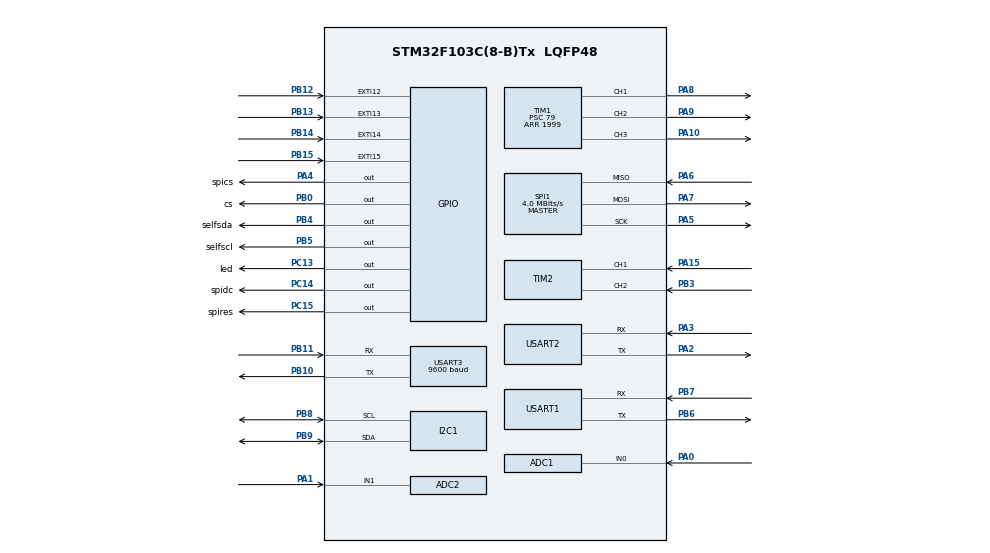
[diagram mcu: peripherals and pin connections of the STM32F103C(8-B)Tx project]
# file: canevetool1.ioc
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ADC1.Channel-0\#ChannelRegularConversion=ADC_CHANNEL_0
ADC1.ContinuousConvMode=ENABLE
ADC1.NbrOfConversion=1
ADC1.NbrOfConversionFlag=1
ADC1.Rank-0\#ChannelRegularConversion=1
ADC1.SamplingTime-0\#ChannelRegularConversion=ADC_SAMPLETIME_13CYCLES_5
ADC1.master=1
ADC2.Channel-2\#ChannelRegularConversion=ADC_CHANNEL_1
ADC2.ContinuousConvMode=ENABLE
ADC2.NbrOfConversionFlag=1
ADC2.Rank-2\#ChannelRegularConversion=1
ADC2.SamplingTime-2\#ChannelRegularConversion=ADC_SAMPLETIME_13CYCLES_5
Dma.ADC1.0.Direction=DMA_PERIPH_TO_MEMORY
Dma.ADC1.0.Instance=DMA1_Channel1
Dma.ADC1.0.MemDataAlignment=DMA_MDATAALIGN_WORD
Dma.ADC1.0.MemInc=DMA_MINC_ENABLE
Dma.ADC1.0.Mode=DMA_CIRCULAR
Dma.ADC1.0.PeriphDataAlignment=DMA_PDATAALIGN_WORD
Dma.ADC1.0.PeriphInc=DMA_PINC_DISABLE
Dma.ADC1.0.Priority=DMA_PRIORITY_LOW
Dma.Request0=ADC1
Mcu.Family=STM32F1
Mcu.Name=STM32F103C(8-B)Tx
Mcu.Package=LQFP48
NVIC.ADC1_2_IRQn=true\:0\:0\:false\:false\:true\:true\:true
NVIC.DMA1_Channel1_IRQn=true\:0\:0\:false\:false\:true\:false\:true
NVIC.EXTI15_10_IRQn=true\:15\:0\:true\:false\:true\:true\:true
NVIC.PriorityGroup=NVIC_PRIORITYGROUP_4
NVIC.TIM1_UP_IRQn=true\:0\:0\:false\:false\:true\:true\:true
NVIC.TIM3_IRQn=true\:0\:0\:false\:false\:true\:true\:true
NVIC.USART1_IRQn=true\:0\:0\:false\:false\:true\:true\:true
PA0-WKUP.Signal=ADCx_IN0
PA1.Signal=ADCx_IN1
PA10.Signal=S_TIM1_CH3
PA13.Mode=Serial_Wire
PA13.Signal=SYS_JTMS-SWDIO
PA14.Mode=Serial_Wire
PA14.Signal=SYS_JTCK-SWCLK
PA15.Signal=S_TIM2_CH1_ETR
PA2.Mode=Asynchronous
PA2.Signal=USART2_TX
PA3.Mode=Asynchronous
PA3.Signal=USART2_RX
PA4.GPIO_Label=spics
PA4.Signal=GPIO_Output
PA5.Mode=Full_Duplex_Master
PA5.Signal=SPI1_SCK
PA6.Mode=Full_Duplex_Master
PA6.Signal=SPI1_MISO
PA7.Mode=Full_Duplex_Master
PA7.Signal=SPI1_MOSI
PA8.Signal=S_TIM1_CH1
PA9.Signal=S_TIM1_CH2
PB0.GPIO_Label=cs
PB0.GPIO_PuPd=GPIO_PULLUP
PB0.GPIO_Speed=GPIO_SPEED_FREQ_HIGH
PB0.Signal=GPIO_Output
PB10.Mode=Asynchronous
PB10.Signal=USART3_TX
PB11.Mode=Asynchronous
PB11.Signal=USART3_RX
PB12.GPIO_ModeDefaultEXTI=GPIO_MODE_IT_FALLING
PB12.GPIO_PuPd=GPIO_PULLUP
PB12.Signal=GPXTI12
PB13.GPIO_ModeDefaultEXTI=GPIO_MODE_IT_FALLING
PB13.GPIO_PuPd=GPIO_PULLUP
PB13.Signal=GPXTI13
PB14.GPIO_ModeDefaultEXTI=GPIO_MODE_IT_FALLING
PB14.GPIO_PuPd=GPIO_PULLUP
PB14.Signal=GPXTI14
PB15.GPIO_ModeDefaultEXTI=GPIO_MODE_IT_FALLING
PB15.GPIO_PuPd=GPIO_PULLUP
PB15.Signal=GPXTI15
PB3.Signal=S_TIM2_CH2
PB4.GPIO_Label=selfsda
PB4.GPIO_PuPd=GPIO_PULLUP
PB4.GPIO_Speed=GPIO_SPEED_FREQ_LOW
PB4.Signal=GPIO_Output
PB5.GPIO_Label=selfscl
PB5.GPIO_PuPd=GPIO_PULLUP
PB5.GPIO_Speed=GPIO_SPEED_FREQ_LOW
PB5.Signal=GPIO_Output
PB6.Mode=Asynchronous
PB6.Signal=USART1_TX
PB7.Mode=Asynchronous
PB7.Signal=USART1_RX
PB8.Mode=I2C
PB8.Signal=I2C1_SCL
PB9.Mode=I2C
PB9.Signal=I2C1_SDA
PC13-TAMPER-RTC.GPIO_Label=led
PC13-TAMPER-RTC.Signal=GPIO_Output
PC14-OSC32_IN.GPIO_Label=spidc
PC14-OSC32_IN.Signal=GPIO_Output
PC15-OSC32_OUT.GPIO_Label=spires
PC15-OSC32_OUT.Signal=GPIO_Output
ProjectManager.HeapSize=0x200
ProjectManager.StackSize=0x400
ProjectManager.TargetToolchain=MDK-ARM V5.32
RCC.APB1Freq_Value=8000000
RCC.APB2Freq_Value=8000000
SH.ADCx_IN0.0=ADC1_IN0,IN0
SH.ADCx_IN1.0=ADC2_IN1,IN1
SH.S_TIM1_CH1.0=TIM1_CH1,PWM Generation1 CH1
SH.S_TIM1_CH2.0=TIM1_CH2,PWM Generation2 CH2
SH.S_TIM1_CH3.0=TIM1_CH3,PWM Generation3 CH3
SH.S_TIM2_CH1_ETR.0=TIM2_CH1,Encoder_Interface
SH.S_TIM2_CH2.0=TIM2_CH2,Encoder_Interface
SPI1.CalculateBaudRate=4.0 MBits/s
SPI1.Direction=SPI_DIRECTION_2LINES
SPI1.Mode=SPI_MODE_MASTER
SPI1.VirtualType=VM_MASTER
TIM1.Channel-PWM\ Generation1\ CH1=TIM_CHANNEL_1
TIM1.Channel-PWM\ Generation2\ CH2=TIM_CHANNEL_2
TIM1.Channel-PWM\ Generation3\ CH3=TIM_CHANNEL_3
TIM1.Period=1999
TIM1.Prescaler=79
TIM3.Channel-PWM\ Generation1\ No\ Output=TIM_CHANNEL_1
TIM3.Period=999
TIM3.Prescaler=79
USART1.VirtualMode=VM_ASYNC
USART2.VirtualMode=VM_ASYNC
USART3.BaudRate=9600
USART3.VirtualMode=VM_ASYNC
VP_TIM3_VS_no_output1.Mode=PWM Generation1 No Output
board=custom

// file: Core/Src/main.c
/* USER CODE BEGIN Header */
/**
  ******************************************************************************
  * @file           : main.c
  * @brief          : Main program body
  ******************************************************************************
  * @attention
  *
  * Copyright (c) 2022 STMicroelectronics.
  * All rights reserved.
  *
  * This software is licensed under terms that can be found in the LICENSE file
  * in the root directory of this software component.
  * If no LICENSE file comes with this software, it is provided AS-IS.
  *
  ******************************************************************************
  */
/* USER CODE END Header */
#include "main.h"
#include "adc.h"
#include "dma.h"
#include "i2c.h"
#include "spi.h"
#include "tim.h"
#include "usart.h"
#include "gpio.h"

/* USER CODE BEGIN Includes */
#include "fonts.h"
#include "ssd1306.h"

#include<string.h>
#include<math.h>
#include "flash_read_write.h"
#include "VL53L0X.h"

#include "bmp280.h"

#include "MFRC522.h"

#include <string.h>
#include "st7735.h"
#include "fontslcd.h"
#include "testimg.h"
#include "selfoled.h"
//#include "tcs3472.h"
/* USER CODE END Includes */

/* USER CODE BEGIN PTD */
typedef struct{
	uint8_t
	page_leval,
	istop,
	isbottom,
	*next_page,
	*last_page,
	*page_title,
	*page_data1,
	*page_data2,
	*page_data3,
	*page_data4,
	*page_bottom_title;
}menu_type;
/* USER CODE END PTD */

/* USER CODE BEGIN PV */
uint8_t rec_u1,rec_u2,rec_u3;
int sec=0;
char oled_data1[6],oled_data2[6];
int deg=0,last_deg;
uint32_t ADC_Value1,ADC_Value2;
uint8_t i,click_long=0,deg_sta=0,flash_i=0;//sta--0,1+,2-
uint32_t ad1,ad2;

//bmp data
BMP280_HandleTypedef bmp280;

float pressure, temperature, humidity;

uint16_t bmp_size;
uint8_t bmp_Data[256];

//COLOR_RGBC rgb1;

/* USER CODE END PV */

void SystemClock_Config(void);
/* USER CODE BEGIN PFP */
int flashWriteData(int paramSizeKb, uint64_t data[], size_t len);
void flashReadData(int paramSizeKb, uint8_t *data, size_t len);
int comptodeg(int deg);
void menu();
/* USER CODE END PFP */

/* USER CODE BEGIN 0 */
void init() {
    ST7735_Init();

    const char ready[] = "Ready!\r\n";
    HAL_UART_Transmit(&huart1, (uint8_t*)ready, sizeof(ready)-1, HAL_MAX_DELAY);
}

void loop() {
    // Check border
    //ST7735_FillScreen(ST7735_BLACK);

    for(int x = 0; x < ST7735_WIDTH; x++) {
        ST7735_DrawPixel(x, 0, ST7735_RED);
        ST7735_DrawPixel(x, ST7735_HEIGHT-1, ST7735_RED);
    }

    for(int y = 0; y < ST7735_HEIGHT; y++) {
        ST7735_DrawPixel(0, y, ST7735_RED);
        ST7735_DrawPixel(ST7735_WIDTH-1, y, ST7735_RED);
    }

   // HAL_Delay(100);

    // Check fonts
//    ST7735_FillScreen(ST7735_BLACK);
//    ST7735_WriteString(0, 0, "Font_7x10, red on black, lorem ipsum dolor sit amet", Font_7x10, ST7735_RED, ST7735_BLACK);
//    ST7735_WriteString(0, 3*10, "Font_11x18, green, lorem ipsum", Font_11x18, ST7735_GREEN, ST7735_BLACK);
//    ST7735_WriteString(0, 3*10+3*18, "Font_16x26", Font_16x26, ST7735_BLUE, ST7735_BLACK);
//    HAL_Delay(2000);

		ST7735_WriteString(0, 0, "BLACK", Font_7x10, ST7735_WHITE, ST7735_BLACK);
    // Check colors
 /*   ST7735_FillScreen(ST7735_BLACK);
    ST7735_WriteString(0, 0, "BLACK", Font_11x18, ST7735_WHITE, ST7735_BLACK);
    HAL_Delay(500);

    ST7735_FillScreen(ST7735_BLUE);
    ST7735_WriteString(0, 0, "BLUE", Font_11x18, ST7735_BLACK, ST7735_BLUE);
    HAL_Delay(500);

    ST7735_FillScreen(ST7735_RED);
    ST7735_WriteString(0, 0, "RED", Font_11x18, ST7735_BLACK, ST7735_RED);
    HAL_Delay(500);

    ST7735_FillScreen(ST7735_GREEN);
    ST7735_WriteString(0, 0, "GREEN", Font_11x18, ST7735_BLACK, ST7735_GREEN);
    HAL_Delay(500);

    ST7735_FillScreen(ST7735_CYAN);
    ST7735_WriteString(0, 0, "CYAN", Font_11x18, ST7735_BLACK, ST7735_CYAN);
    HAL_Delay(500);

    ST7735_FillScreen(ST7735_MAGENTA);
    ST7735_WriteString(0, 0, "MAGENTA", Font_11x18, ST7735_BLACK, ST7735_MAGENTA);
    HAL_Delay(500);

    ST7735_FillScreen(ST7735_YELLOW);
    ST7735_WriteString(0, 0, "YELLOW", Font_11x18, ST7735_BLACK, ST7735_YELLOW);
    HAL_Delay(500);

    ST7735_FillScreen(ST7735_WHITE);
    ST7735_WriteString(0, 0, "WHITE", Font_11x18, ST7735_BLACK, ST7735_WHITE);
    HAL_Delay(500);
*/
#ifdef ST7735_IS_160X128
    // Display test image 128x128
    ST7735_DrawImage(0, 0, ST7735_WIDTH, ST7735_HEIGHT, (uint16_t*)test_img_128x160);

/*
    // Display test image 128x128 pixel by pixel
    for(int x = 0; x < ST7735_WIDTH; x++) {
        for(int y = 0; y < ST7735_HEIGHT; y++) {
            uint16_t color565 = test_img_128x128[y][x];
            // fix endiness
            color565 = ((color565 & 0xFF00) >> 8) | ((color565 & 0xFF) << 8);
            ST7735_DrawPixel(x, y, color565);
        }
    }
*/

		HAL_Delay(50);
#endif // ST7735_IS_128X128

}
/* USER CODE END 0 */

int main(void)
{

  /* MCU Configuration--------------------------------------------------------*/

  /* Reset of all peripherals, Initializes the Flash interface and the Systick. */
  HAL_Init();

  /* Configure the system clock */
  SystemClock_Config();

  /* Initialize all configured peripherals */
  MX_GPIO_Init();
  MX_ADC1_Init();
  MX_I2C1_Init();
  MX_SPI1_Init();
  MX_TIM1_Init();
  MX_TIM2_Init();
  MX_USART1_UART_Init();
  MX_USART2_UART_Init();
  MX_DMA_Init();
  MX_USART3_UART_Init();
  MX_TIM3_Init();
  MX_ADC2_Init();
  /* USER CODE BEGIN 2 */
	HAL_UART_Receive_IT(&huart1,&rec_u1,1);
	HAL_UART_Receive_IT(&huart2,&rec_u2,1);
	HAL_UART_Receive_IT(&huart3,&rec_u3,1);
	HAL_TIM_Base_Start_IT(&htim1);
	HAL_TIM_PWM_Start(&htim1,TIM_CHANNEL_1);
	if (ssd1306_Init(&hi2c1) != 0) {
    HAL_UART_Transmit(&huart1,(uint8_t *)"error",6,50);
  }
	HAL_Delay(10);

  ssd1306_Fill(Black);
  ssd1306_UpdateScreen(&hi2c1);

  HAL_Delay(10);
	//uint64_t writeData[6] = {'h','e','l','l','o'};
//	flashWriteData(31,writeData,5);
//	flashWriteData(32,writeData,5);
	//flashWriteData(31,writeData,6);
	flashReadData(124,flash_data_read,6);
	if(flash_data_read[0]!='\0')
		deg=ctoi(flash_data_read);
  // Write data to local screenbuffer
  ssd1306_SetCursor(0, 0);
//  ssd1306_WriteString("ssd1306", Font_7x10, White);
	//ssd1306_WriteString((char *)' ', Font_16x16, White);

	OLED_ShowCHinese(0,0,1);
	HAL_Delay(2000);
	ssd1306_UpdateScreen(&hi2c1);
//	HAL_ADC_Start_DMA(&hadc1, (uint32_t*)ADC_Value1, 1);
//	HAL_ADC_Start(&hadc2);

	//vl53l0x
//	char msgBuffer[52];
//	for (uint8_t i = 0; i < 52; i++) {
//		msgBuffer[i] = ' ';
//	}

//	// Initialise the VL53L0X
//	statInfo_t_VL53L0X distanceStr;
//	initVL53L0X(1, &hi2c1);

//	// Configure the sensor for high accuracy and speed in 20 cm.
//	setSignalRateLimit(200);
//	setVcselPulsePeriod(VcselPeriodPreRange, 10);
//	setVcselPulsePeriod(VcselPeriodFinalRange, 14);
//	setMeasurementTimingBudget(300 * 1000UL);

//	uint16_t distance;

	//LCD

//		init();

	//TCS3472_Init();

	//selfiic
	OLED_Init();                   //=====OLED初始化
	OLED_Clear();									 //=====OLED清屏
	//bmp
//	bmp280_init_default_params(&bmp280.params);
//	bmp280.addr = BMP280_I2C_ADDRESS_0;
//	bmp280.i2c = &hi2c1;

//	while (!bmp280_init(&bmp280, &bmp280.params)) {
//		bmp_size = sprintf((char *)bmp_Data, "BMP280 initialization failed\n");
//		HAL_UART_Transmit(&huart1, bmp_Data, bmp_size, 1000);
//		HAL_Delay(2000);
//	}
//	bool bme280p = bmp280.id == BME280_CHIP_ID;
//	bmp_size = sprintf((char *)bmp_Data, "BMP280: found %s\n", bme280p ? "BME280" : "BMP280");
//	HAL_UART_Transmit(&huart1, bmp_Data, bmp_size, 1000);

	  /*ssd1306_SetCursor(0, 36);
  ssd1306_WriteString("4ilo", Font_11x18, White);

  // Draw rectangle on screen
  for (uint8_t i=0; i<28; i++) {
      for (uint8_t j=0; j<64; j++) {
          ssd1306_DrawPixel(100+i, 0+j, White);
      }
  }*/

  // Copy all data from local screenbuffer to the screen
	uint8_t ihz=0;
  /* USER CODE END 2 */

  /* Infinite loop */
  /* USER CODE BEGIN WHILE */
  while (1)
  {
		HAL_Delay(100);

		//menu();
//		distance = readRangeSingleMillimeters(&distanceStr);

		itoa(deg,oled_data1,10);
		for(int i3=strlen(oled_data1);i3<5;i3++)
		oled_data1[i3]=' ';
		ssd1306_SetCursor(0, 30);
		ssd1306_WriteString(oled_data1, Font_7x10, White);
		itoa(comptodeg(deg),oled_data2,10);
		for(int i3=strlen(oled_data2);i3<5;i3++)
		oled_data2[i3]=' ';
		ssd1306_SetCursor(50, 30);
		ssd1306_WriteString(oled_data2, Font_7x10, White);
		ssd1306_SetCursor(80, 25);
		ssd1306_WriteString("o", Font_7x10, White);
		ssd1306_SetCursor(0, 50);
		ssd1306_WriteString(flash_data_read, Font_7x10, White);
		OLED_Float(0,0,134.932,8);
		OLED_Num5(0,2,deg);
		ssd1306_SetCursor(50, 50);

//		loop();
		/*while (!bmp280_read_float(&bmp280, &temperature, &pressure, &humidity)) {
			bmp_size = sprintf((char *)bmp_Data,
					"Temperature/pressure reading failed\n");
			HAL_UART_Transmit(&huart1, bmp_Data, bmp_size, 1000);
			HAL_Delay(2000);
		}

		bmp_size = sprintf((char *)bmp_Data,"Pressure: %.2f Pa, Temperature: %.2f C",
				pressure, temperature);
		HAL_UART_Transmit(&huart1, bmp_Data, bmp_size, 1000);
		if (bme280p) {
			bmp_size = sprintf((char *)bmp_Data,", Humidity: %.2f\n", humidity);
			HAL_UART_Transmit(&huart1, bmp_Data, bmp_size, 1000);
		}

		else {
			bmp_size = sprintf((char *)bmp_Data, "\n");
			HAL_UART_Transmit(&huart1, bmp_Data, bmp_size, 1000);
		}*/

//		ito[

		ssd1306_UpdateScreen(&hi2c1);

//		OLED_ShowChar(0,0,'a',1);
//		HAL_Delay(50);
//		OLED_ShowChar(20,20,'b',1);
		OLED_ShowCHinese(0,0,ihz);
		ihz++;
		if(ihz>17) ihz=0;

		OLED_ShowString(68,7,(uint8_t *)"absdcg",8);
		/*itoa(ad1,oled_data1,10);
		itoa(ad2,oled_data2,10);
		for(int i3=strlen(oled_data1);i3<5;i3++)
		oled_data1[i3]=' ';
		for(int i3=strlen(oled_data2);i3<5;i3++)
		oled_data2[i3]=' ';
		HAL_GPIO_TogglePin(GPIOC,GPIO_PIN_13);
		HAL_Delay(200);
//		HAL_UART_Transmit(&huart1,(uint8_t *)"a",1,50);
		ssd1306_SetCursor(0, 30);
		ssd1306_WriteString(oled_data1, Font_7x10, Black);
		ssd1306_WriteString("mV", Font_7x10, Black);
		ssd1306_UpdateScreen(&hi2c1);
		ssd1306_SetCursor(0, 42);
		ssd1306_WriteString(oled_data2, Font_7x10, Black);
		ssd1306_WriteString("mV", Font_7x10, Black);
		ssd1306_UpdateScreen(&hi2c1);
		sec++;

		ad1 = hadc1.Instance->DR;
		ad2 = hadc2.Instance->DR;

				//ad2 /= 50;
				//printf("\r\n********ADC-DMA-Example********\r\n");
				//printf("%1.3fV\r\n", ad1*3.3f/4096);
		ad1=(ad1*3.3f/4096)*1000;
		ad2=(ad2*3.3f/4096)*1000;*/
    /* USER CODE END WHILE */

  }
}

void SystemClock_Config(void)
{
  RCC_OscInitTypeDef RCC_OscInitStruct = {0};
  RCC_ClkInitTypeDef RCC_ClkInitStruct = {0};
  RCC_PeriphCLKInitTypeDef PeriphClkInit = {0};

  /** Initializes the RCC Oscillators according to the specified parameters
  * in the RCC_OscInitTypeDef structure.
  */
  RCC_OscInitStruct.OscillatorType = RCC_OSCILLATORTYPE_HSI;
  RCC_OscInitStruct.HSIState = RCC_HSI_ON;
  RCC_OscInitStruct.HSICalibrationValue = RCC_HSICALIBRATION_DEFAULT;
  RCC_OscInitStruct.PLL.PLLState = RCC_PLL_NONE;
  if (HAL_RCC_OscConfig(&RCC_OscInitStruct) != HAL_OK)
  {
    Error_Handler();
  }
  /** Initializes the CPU, AHB and APB buses clocks
  */
  RCC_ClkInitStruct.ClockType = RCC_CLOCKTYPE_HCLK|RCC_CLOCKTYPE_SYSCLK
                              |RCC_CLOCKTYPE_PCLK1|RCC_CLOCKTYPE_PCLK2;
  RCC_ClkInitStruct.SYSCLKSource = RCC_SYSCLKSOURCE_HSI;
  RCC_ClkInitStruct.AHBCLKDivider = RCC_SYSCLK_DIV1;
  RCC_ClkInitStruct.APB1CLKDivider = RCC_HCLK_DIV1;
  RCC_ClkInitStruct.APB2CLKDivider = RCC_HCLK_DIV1;

  if (HAL_RCC_ClockConfig(&RCC_ClkInitStruct, FLASH_LATENCY_0) != HAL_OK)
  {
    Error_Handler();
  }
  PeriphClkInit.PeriphClockSelection = RCC_PERIPHCLK_ADC;
  PeriphClkInit.AdcClockSelection = RCC_ADCPCLK2_DIV2;
  if (HAL_RCCEx_PeriphCLKConfig(&PeriphClkInit) != HAL_OK)
  {
    Error_Handler();
  }
}

/* USER CODE BEGIN 4 */

int comptodeg(int deg){
	//0.5ms-2.5ms 2000: 50->250
	int ass=50;
	if(deg>250) deg=180;
	else if(deg<50) deg=0;
	else {
		deg=((deg-50)/200.0)*180;
	}
	return deg;
}

void menu(){

}

void HAL_TIM_PeriodElapsedCallback(TIM_HandleTypeDef *htim)
{

/*	if(HAL_GPIO_ReadPin(GPIOB,GPIO_PIN_15)&&HAL_GPIO_ReadPin(GPIOB,GPIO_PIN_13)) {
			click_long=0;
			deg_sta=0;
		}
		else click_long+=1;
		if(click_long>15) deg+=(deg_sta==1? 1:(deg_sta==2 ? (-1):0));*/
		__HAL_TIM_SET_COMPARE(&htim1,TIM_CHANNEL_1,deg);
  HAL_GPIO_TogglePin(GPIOC,GPIO_PIN_13);
//		HAL_GPIO_TogglePin(GPIOB,GPIO_PIN_4);
//		HAL_GPIO_TogglePin(GPIOA,GPIO_PIN_11);
//		HAL_GPIO_TogglePin(GPIOA,GPIO_PIN_12);
}

int htoi(char a[])
{
    int n = strlen(a);//判断字符串的长度函数
    int i, j = 0, num = 0;
    for (i = 0; i < n; i++)
    {
        if (a[i] == 'A')
            num += 10 * pow(16, n - i - 1); //pow() 函数用来求 x 的 y 次方的值。
        else if (a[i] == 'B')
            num += 11 * pow(16, n - i - 1);
        else if (a[i] == 'C')
            num += 12 * pow(16, n - i - 1);
        else if (a[i]=='D')
            num += 13 * pow(16, n - i - 1);
        else if (a[i] == 'E')
            num += 14 * pow(16, n - i - 1);
        else
            num += 15 * pow(16, n - i - 1);
    }
    return num;
}
void HAL_GPIO_EXTI_Callback(uint16_t GPIO_Pin)
{
	uint8_t key=' ';
	if(HAL_GPIO_ReadPin(GPIOB,GPIO_Pin)==GPIO_PIN_RESET)
	{
		HAL_Delay(80);
		if(HAL_GPIO_ReadPin(GPIOB,GPIO_PIN_15)==GPIO_PIN_RESET)
		{
			key='u';
			deg++;
			deg_sta=1;
		}
		else if((HAL_GPIO_ReadPin(GPIOB,GPIO_PIN_14)==GPIO_PIN_RESET))
		{
			key='r';
			deg_sta=0;
			deg=0;

		}
		else if(HAL_GPIO_ReadPin(GPIOB,GPIO_PIN_13)==GPIO_PIN_RESET)
		{
			key='d';
			deg--;
			deg_sta=2;
		}
		else if(HAL_GPIO_ReadPin(GPIOB,GPIO_PIN_12)==GPIO_PIN_RESET)
		{
			key='l';
			deg_sta=0;
		}else deg_sta=0;
		if(key!=' ')
		HAL_UART_Transmit(&huart1,&key,1,50);
		click_long+=1;
		__HAL_TIM_SET_COMPARE(&htim1,TIM_CHANNEL_1,deg);
		last_deg=deg;
	}
}
void HAL_UART_RxCpltCallback(UART_HandleTypeDef *huart)
{
  if(huart==&huart1){
		HAL_UART_Transmit(&huart1,(uint8_t *)"uart1",6,50);
		HAL_UART_Transmit(&huart1,&rec_u1,1,50);
		HAL_UART_Receive_IT(&huart1,&rec_u1,1);
	}
	else if(huart==&huart2){
		HAL_UART_Transmit(&huart2,(uint8_t *)"uart2",6,50);
		HAL_UART_Transmit(&huart2,&rec_u2,1,50);
		HAL_UART_Receive_IT(&huart2,&rec_u2,1);
	}
	else if(huart==&huart3){
		HAL_UART_Transmit(&huart3,(uint8_t *)"uart3",6,50);
		HAL_UART_Transmit(&huart3,&rec_u3,1,50);
		HAL_UART_Receive_IT(&huart3,&rec_u3,1);
	}

}
/* USER CODE END 4 */

void Error_Handler(void)
{
  __disable_irq();
  while (1)
  {
  }
}
